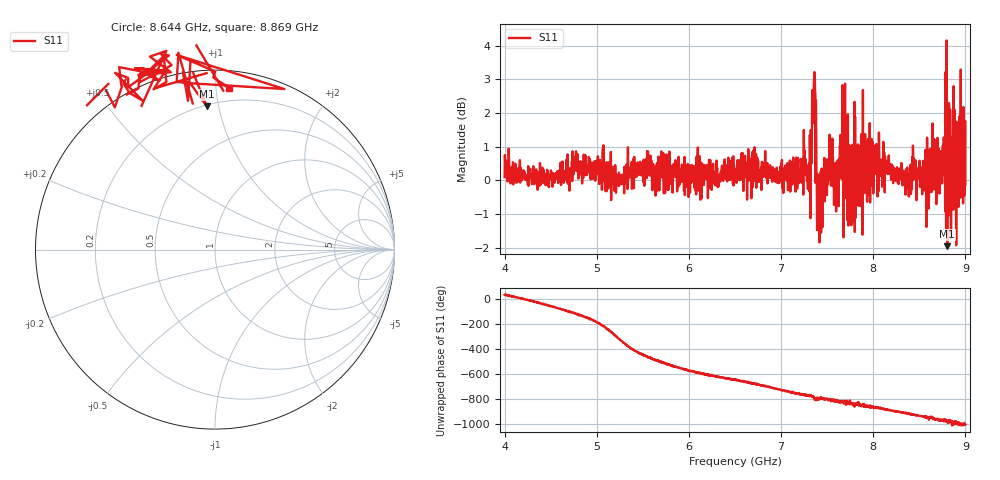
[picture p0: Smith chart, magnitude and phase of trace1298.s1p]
! Created with skrf 1.8.0 (http://scikit-rf.org).
# Hz S RI R 50.0
!freq ReS11 ImS11
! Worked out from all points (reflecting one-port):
!   1601 points, 4 GHz to 9 GHz, reference 50 ohm
!   lowest |S11| = -1.9 dB at 8.803 GHz (marker M1), VSWR 8.95, Z = 10.5 + j46.1 ohm
!   phase of S11 starts at 37 deg and turns -1044 deg over the sweep
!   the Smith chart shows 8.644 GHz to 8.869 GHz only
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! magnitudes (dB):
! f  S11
! 4 GHz  0.1
! 4.625 GHz  0.3
! 4.9 GHz  0.4
! 5.25 GHz  0.1
! 5.572 GHz  0.2
! 5.625 GHz  0.2
! 5.691 GHz  0.1
! 5.875 GHz  -0.2
! 6.5 GHz  0.2
! 7.125 GHz  0.3
! 7.294 GHz  0.4
! 7.356 GHz  2.9
! 7.4 GHz  0.2
! 7.412 GHz  -0.9
! 7.538 GHz  0.8
! 7.6 GHz  -0.6
! 7.669 GHz  0.6
! 7.75 GHz  -0.1
! 7.962 GHz  1.7
! 8.375 GHz  -0.2
! 8.441 GHz  0.0
! 8.534 GHz  0.0
! 8.656 GHz  0.6
! 8.709 GHz  0.4
! 8.803 GHz  -1.9
! 8.919 GHz  0.5
! 8.959 GHz  2.1
! 9 GHz  -0.1
